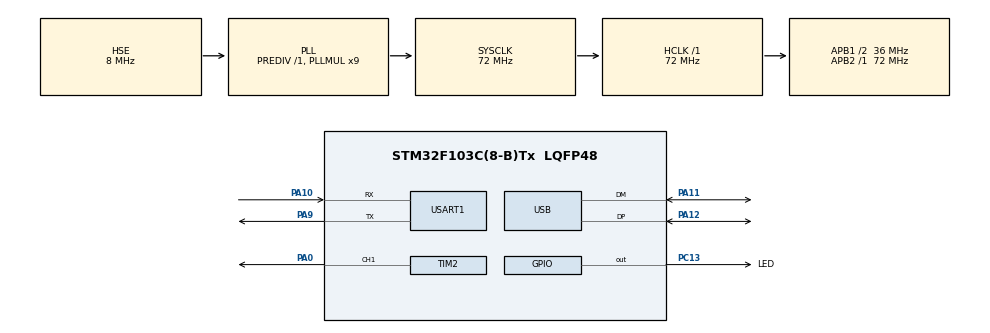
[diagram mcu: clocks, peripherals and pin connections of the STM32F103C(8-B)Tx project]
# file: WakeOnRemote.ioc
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FREERTOS.Tasks01=mainTask,0,512,StartMainTask,Default,NULL,Dynamic,NULL,NULL
Mcu.Family=STM32F1
Mcu.Name=STM32F103C(8-B)Tx
Mcu.Package=LQFP48
NVIC.PriorityGroup=NVIC_PRIORITYGROUP_4
NVIC.USART1_IRQn=true\:5\:0\:false\:false\:true\:true\:true\:true\:true
NVIC.USB_LP_CAN1_RX0_IRQn=true\:5\:0\:false\:false\:true\:true\:false\:true\:true
PA0-WKUP.Signal=S_TIM2_CH1_ETR
PA10.Mode=Asynchronous
PA10.Signal=USART1_RX
PA11.Mode=Device
PA11.Signal=USB_DM
PA12.Mode=Device
PA12.Signal=USB_DP
PA13.Mode=Serial_Wire
PA13.Signal=SYS_JTMS-SWDIO
PA14.Mode=Serial_Wire
PA14.Signal=SYS_JTCK-SWCLK
PA9.Mode=Asynchronous
PA9.Signal=USART1_TX
PC13-TAMPER-RTC.GPIO_Label=LED
PC13-TAMPER-RTC.Signal=GPIO_Output
PD0-OSC_IN.Mode=HSE-External-Oscillator
PD0-OSC_IN.Signal=RCC_OSC_IN
PD1-OSC_OUT.Mode=HSE-External-Oscillator
PD1-OSC_OUT.Signal=RCC_OSC_OUT
ProjectManager.HeapSize=0x200
ProjectManager.StackSize=0x400
ProjectManager.TargetToolchain=STM32CubeIDE
RCC.AHBFreq_Value=72000000
RCC.APB1CLKDivider=RCC_HCLK_DIV2
RCC.APB1Freq_Value=36000000
RCC.APB1TimFreq_Value=72000000
RCC.APB2Freq_Value=72000000
RCC.APB2TimFreq_Value=72000000
RCC.HCLKFreq_Value=72000000
RCC.PLLMUL=RCC_PLL_MUL9
RCC.SYSCLKFreq_VALUE=72000000
RCC.SYSCLKSource=RCC_SYSCLKSOURCE_PLLCLK
RCC.USBFreq_Value=48000000
RCC.USBPrescaler=RCC_USBCLKSOURCE_PLL_DIV1_5
SH.S_TIM2_CH1_ETR.0=TIM2_CH1,PWM Generation1 CH1
TIM2.Channel-PWM\ Generation1\ CH1=TIM_CHANNEL_1
USART1.VirtualMode=VM_ASYNC
USB_DEVICE.CLASS_NAME_FS=HID
USB_DEVICE.PRODUCT_STRING_HID_FS=STM32 KEYBOARD
USB_DEVICE.VirtualMode=Hid
USB_DEVICE.VirtualModeFS=Hid_FS
VP_FREERTOS_VS_CMSIS_V1.Mode=CMSIS_V1
VP_USB_DEVICE_VS_USB_DEVICE_HID_FS.Mode=HID_FS
board=custom

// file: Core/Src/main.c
/* USER CODE BEGIN Header */
/**
  ******************************************************************************
  * @file           : main.c
  * @brief          : Main program body
  ******************************************************************************
  * @attention
  *
  * Copyright (c) 2023 STMicroelectronics.
  * All rights reserved.
  *
  * This software is licensed under terms that can be found in the LICENSE file
  * in the root directory of this software component.
  * If no LICENSE file comes with this software, it is provided AS-IS.
  *
  ******************************************************************************
  */
/* USER CODE END Header */
#include "main.h"
#include "cmsis_os.h"
#include "usb_device.h"

/* USER CODE BEGIN Includes */
#include "usbd_hid.h"
/* USER CODE END Includes */

TIM_HandleTypeDef htim2;

UART_HandleTypeDef huart1;

osThreadId mainTaskHandle;
/* USER CODE BEGIN PV */

// Variable to set when a message has arrived
uint8_t received_msg_flag = 0;
// Buffer to store the received message
uint8_t UART1_rxBuffer[3] = {0};

/* USER CODE END PV */

void SystemClock_Config(void);
static void MX_GPIO_Init(void);
static void MX_TIM2_Init(void);
static void MX_USART1_UART_Init(void);
void StartMainTask(void const * argument);

int main(void)
{

  /* MCU Configuration--------------------------------------------------------*/

  /* Reset of all peripherals, Initializes the Flash interface and the Systick. */
  HAL_Init();

  /* Configure the system clock */
  SystemClock_Config();

  /* Initialize all configured peripherals */
  MX_GPIO_Init();
  MX_TIM2_Init();
  MX_USART1_UART_Init();

  /* Create the thread(s) */
  /* definition and creation of mainTask */
  osThreadDef(mainTask, StartMainTask, osPriorityNormal, 0, 512);
  mainTaskHandle = osThreadCreate(osThread(mainTask), NULL);

  /* Start scheduler */
  osKernelStart();

  /* We should never get here as control is now taken by the scheduler */
  /* Infinite loop */
  while (1)
  {

  }
}

void SystemClock_Config(void)
{
  RCC_OscInitTypeDef RCC_OscInitStruct = {0};
  RCC_ClkInitTypeDef RCC_ClkInitStruct = {0};
  RCC_PeriphCLKInitTypeDef PeriphClkInit = {0};

  /** Initializes the RCC Oscillators according to the specified parameters
  * in the RCC_OscInitTypeDef structure.
  */
  RCC_OscInitStruct.OscillatorType = RCC_OSCILLATORTYPE_HSE;
  RCC_OscInitStruct.HSEState = RCC_HSE_ON;
  RCC_OscInitStruct.HSEPredivValue = RCC_HSE_PREDIV_DIV1;
  RCC_OscInitStruct.HSIState = RCC_HSI_ON;
  RCC_OscInitStruct.PLL.PLLState = RCC_PLL_ON;
  RCC_OscInitStruct.PLL.PLLSource = RCC_PLLSOURCE_HSE;
  RCC_OscInitStruct.PLL.PLLMUL = RCC_PLL_MUL9;
  if (HAL_RCC_OscConfig(&RCC_OscInitStruct) != HAL_OK)
  {
    Error_Handler();
  }

  /** Initializes the CPU, AHB and APB buses clocks
  */
  RCC_ClkInitStruct.ClockType = RCC_CLOCKTYPE_HCLK|RCC_CLOCKTYPE_SYSCLK
                              |RCC_CLOCKTYPE_PCLK1|RCC_CLOCKTYPE_PCLK2;
  RCC_ClkInitStruct.SYSCLKSource = RCC_SYSCLKSOURCE_PLLCLK;
  RCC_ClkInitStruct.AHBCLKDivider = RCC_SYSCLK_DIV1;
  RCC_ClkInitStruct.APB1CLKDivider = RCC_HCLK_DIV2;
  RCC_ClkInitStruct.APB2CLKDivider = RCC_HCLK_DIV1;

  if (HAL_RCC_ClockConfig(&RCC_ClkInitStruct, FLASH_LATENCY_2) != HAL_OK)
  {
    Error_Handler();
  }
  PeriphClkInit.PeriphClockSelection = RCC_PERIPHCLK_USB;
  PeriphClkInit.UsbClockSelection = RCC_USBCLKSOURCE_PLL_DIV1_5;
  if (HAL_RCCEx_PeriphCLKConfig(&PeriphClkInit) != HAL_OK)
  {
    Error_Handler();
  }
}

static void MX_TIM2_Init(void)
{

  TIM_MasterConfigTypeDef sMasterConfig = {0};
  TIM_OC_InitTypeDef sConfigOC = {0};

  htim2.Instance = TIM2;
  htim2.Init.Prescaler = 0;
  htim2.Init.CounterMode = TIM_COUNTERMODE_UP;
  htim2.Init.Period = 65535;
  htim2.Init.ClockDivision = TIM_CLOCKDIVISION_DIV1;
  htim2.Init.AutoReloadPreload = TIM_AUTORELOAD_PRELOAD_DISABLE;
  if (HAL_TIM_PWM_Init(&htim2) != HAL_OK)
  {
    Error_Handler();
  }
  sMasterConfig.MasterOutputTrigger = TIM_TRGO_RESET;
  sMasterConfig.MasterSlaveMode = TIM_MASTERSLAVEMODE_DISABLE;
  if (HAL_TIMEx_MasterConfigSynchronization(&htim2, &sMasterConfig) != HAL_OK)
  {
    Error_Handler();
  }
  sConfigOC.OCMode = TIM_OCMODE_PWM1;
  sConfigOC.Pulse = 0;
  sConfigOC.OCPolarity = TIM_OCPOLARITY_HIGH;
  sConfigOC.OCFastMode = TIM_OCFAST_DISABLE;
  if (HAL_TIM_PWM_ConfigChannel(&htim2, &sConfigOC, TIM_CHANNEL_1) != HAL_OK)
  {
    Error_Handler();
  }
  HAL_TIM_MspPostInit(&htim2);

}

static void MX_USART1_UART_Init(void)
{

  huart1.Instance = USART1;
  huart1.Init.BaudRate = 115200;
  huart1.Init.WordLength = UART_WORDLENGTH_8B;
  huart1.Init.StopBits = UART_STOPBITS_1;
  huart1.Init.Parity = UART_PARITY_NONE;
  huart1.Init.Mode = UART_MODE_TX_RX;
  huart1.Init.HwFlowCtl = UART_HWCONTROL_NONE;
  huart1.Init.OverSampling = UART_OVERSAMPLING_16;
  if (HAL_UART_Init(&huart1) != HAL_OK)
  {
    Error_Handler();
  }

}

static void MX_GPIO_Init(void)
{
  GPIO_InitTypeDef GPIO_InitStruct = {0};

  /* GPIO Ports Clock Enable */
  __HAL_RCC_GPIOC_CLK_ENABLE();
  __HAL_RCC_GPIOD_CLK_ENABLE();
  __HAL_RCC_GPIOA_CLK_ENABLE();

  /*Configure GPIO pin Output Level */
  HAL_GPIO_WritePin(LED_GPIO_Port, LED_Pin, GPIO_PIN_RESET);

  /*Configure GPIO pin : LED_Pin */
  GPIO_InitStruct.Pin = LED_Pin;
  GPIO_InitStruct.Mode = GPIO_MODE_OUTPUT_PP;
  GPIO_InitStruct.Pull = GPIO_NOPULL;
  GPIO_InitStruct.Speed = GPIO_SPEED_FREQ_LOW;
  HAL_GPIO_Init(LED_GPIO_Port, &GPIO_InitStruct);

}

/* USER CODE BEGIN 4 */
/*
void HAL_UART_RxCpltCallback(UART_HandleTypeDef *huart)
{
    HAL_UART_Receive_IT(&huart1, UART1_rxBuffer, 7);
    received_msg_flag = 1;
}
*/
/* USER CODE END 4 */

void StartMainTask(void const * argument)
{
  /* init code for USB_DEVICE */
  MX_USB_DEVICE_Init();
  /* USER CODE BEGIN 5 */

  extern USBD_HandleTypeDef hUsbDeviceFS;

  // Keyboard message struct
  typedef struct{
	  uint8_t MODIFIER;
	  uint8_t RESERVED;
	  uint8_t KEYCODE1;
	  uint8_t KEYCODE2;
	  uint8_t KEYCODE3;
	  uint8_t KEYCODE4;
	  uint8_t KEYCODE5;
	  uint8_t KEYCODE6;
  } keyboardHID;

  keyboardHID keyboardhid = {0,0,0,0,0,0,0,0};

  HAL_UART_Receive_IT(&huart1, (uint8_t*) UART1_rxBuffer, 3);

  /* Infinite loop */
  for(;;)
  {
	  HAL_GPIO_WritePin(LED_GPIO_Port, LED_Pin, GPIO_PIN_RESET);
	  osDelay(1000);
	  HAL_GPIO_WritePin(LED_GPIO_Port, LED_Pin, GPIO_PIN_SET);
	  osDelay(1000);

	  received_msg_flag = 1;
	  UART1_rxBuffer[0] = 0xA1;
	  UART1_rxBuffer[1] = 0x02;
	  UART1_rxBuffer[2] = 0xB1;
	  // If a new message has arrived
	  if((received_msg_flag == 1) && (UART1_rxBuffer[0] == 0xA1) && (UART1_rxBuffer[2] == 0xB1)){
		  // Check if the user wants to go into Ubuntu
		  if(UART1_rxBuffer[0] == 0x01){
			  // Just sends Enter because Ubuntu is in the first boot position
			  keyboardhid.KEYCODE1 = 0x58;		// Send "Enter"
			  USBD_HID_SendReport(&hUsbDeviceFS, &keyboardhid, sizeof(keyboardhid));
			  osDelay(50);
			  keyboardhid.KEYCODE1 = 0x00;		// Release key
			  USBD_HID_SendReport(&hUsbDeviceFS, &keyboardhid, sizeof(keyboardhid));
			  osDelay(50);

			  // Sends the Ubuntu user password
		  }
		  // Check if the user wants to go into Windows
		  else if(UART1_rxBuffer[1] == 0x02){
			  // Sends two times Down Arrow and Enter because Windows is in the third boot position
			  keyboardhid.KEYCODE1 = 0x51;		// Send "Down arrow"
			  USBD_HID_SendReport(&hUsbDeviceFS, &keyboardhid, sizeof(keyboardhid));
			  osDelay(50);
			  keyboardhid.KEYCODE1 = 0x00;		// Release key
			  USBD_HID_SendReport(&hUsbDeviceFS, &keyboardhid, sizeof(keyboardhid));
			  osDelay(50);
			  keyboardhid.KEYCODE1 = 0x51;		// Send "Down arrow"
			  USBD_HID_SendReport(&hUsbDeviceFS, &keyboardhid, sizeof(keyboardhid));
			  osDelay(50);
			  keyboardhid.KEYCODE1 = 0x00;		// Release key
			  USBD_HID_SendReport(&hUsbDeviceFS, &keyboardhid, sizeof(keyboardhid));
			  osDelay(50);
			  keyboardhid.KEYCODE1 = 0x58;		// Send "Enter"
			  USBD_HID_SendReport(&hUsbDeviceFS, &keyboardhid, sizeof(keyboardhid));
			  osDelay(50);
			  keyboardhid.KEYCODE1 = 0x00;		// Release key
			  USBD_HID_SendReport(&hUsbDeviceFS, &keyboardhid, sizeof(keyboardhid));
			  osDelay(50);
		  }
		  received_msg_flag = 0;	// Resets message received flag
	  }
    osDelay(10);
  }

  /* USER CODE END 5 */
}

void Error_Handler(void)
{
  __disable_irq();
  while (1)
  {
  }
}

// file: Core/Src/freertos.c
/* USER CODE BEGIN Header */
/**
  ******************************************************************************
  * File Name          : freertos.c
  * Description        : Code for freertos applications
  ******************************************************************************
  * @attention
  *
  * Copyright (c) 2023 STMicroelectronics.
  * All rights reserved.
  *
  * This software is licensed under terms that can be found in the LICENSE file
  * in the root directory of this software component.
  * If no LICENSE file comes with this software, it is provided AS-IS.
  *
  ******************************************************************************
  */
/* USER CODE END Header */

#include "FreeRTOS.h"
#include "task.h"
#include "main.h"

/* USER CODE BEGIN Variables */
extern uint8_t received_msg_flag;
// Buffer to store the received message
extern uint8_t UART1_rxBuffer[3];

extern UART_HandleTypeDef huart1;
/* USER CODE END Variables */

/* USER CODE BEGIN FunctionPrototypes */
void HAL_UART_RxCpltCallback(UART_HandleTypeDef *huart) {
	if (huart->Instance == USART1) {
		received_msg_flag = 1;
	}
	HAL_UART_Receive_IT(&huart1, (uint8_t*) UART1_rxBuffer, 3);
}
/* USER CODE END FunctionPrototypes */

/* GetIdleTaskMemory prototype (linked to static allocation support) */
void vApplicationGetIdleTaskMemory( StaticTask_t **ppxIdleTaskTCBBuffer, StackType_t **ppxIdleTaskStackBuffer, uint32_t *pulIdleTaskStackSize );

/* USER CODE BEGIN GET_IDLE_TASK_MEMORY */
static StaticTask_t xIdleTaskTCBBuffer;
static StackType_t xIdleStack[configMINIMAL_STACK_SIZE];

void vApplicationGetIdleTaskMemory( StaticTask_t **ppxIdleTaskTCBBuffer, StackType_t **ppxIdleTaskStackBuffer, uint32_t *pulIdleTaskStackSize )
{
  *ppxIdleTaskTCBBuffer = &xIdleTaskTCBBuffer;
  *ppxIdleTaskStackBuffer = &xIdleStack[0];
  *pulIdleTaskStackSize = configMINIMAL_STACK_SIZE;
  /* place for user code */
}
/* USER CODE END GET_IDLE_TASK_MEMORY */
